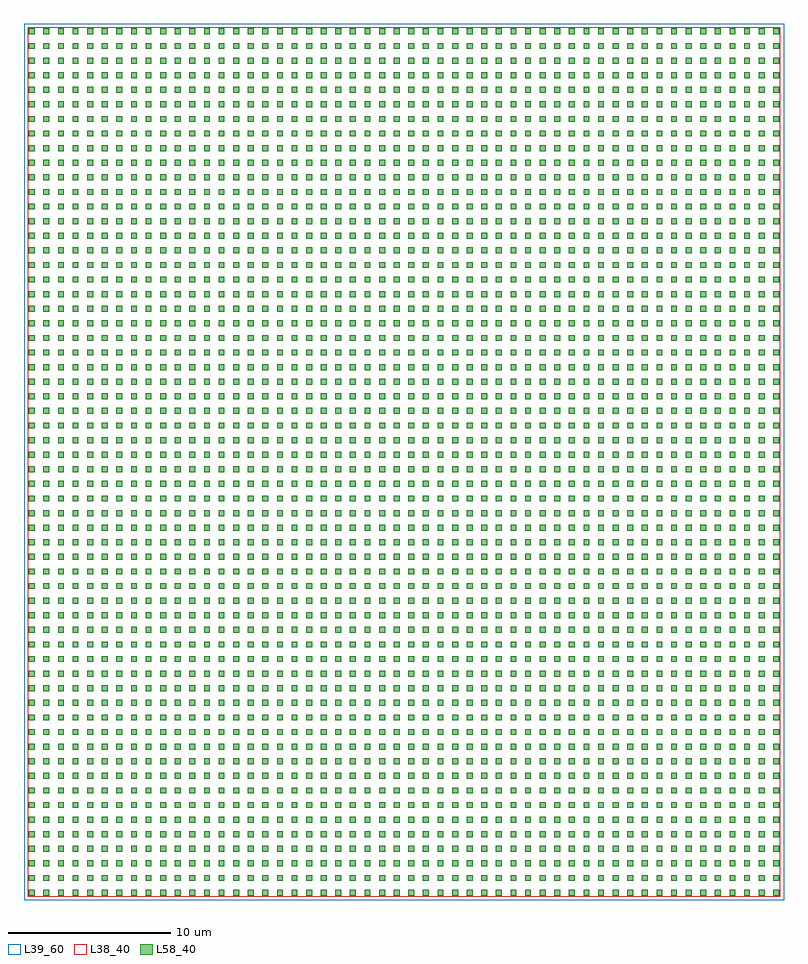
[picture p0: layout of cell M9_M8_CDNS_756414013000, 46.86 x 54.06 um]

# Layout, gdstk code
import gdstk
lib = gdstk.Library(unit=1e-6, precision=1e-09)
def R(c, l, rs):  # rectangles x0, y0, x1, y1
    for r in rs: c.add(gdstk.rectangle(r[:2], r[2:], *l))
def A(c, l, x, y, w, h, nx, ny, dx, dy):  # array of equal rectangles
    R(c, l, [(x+i*dx, y+j*dy, x+i*dx+w, y+j*dy+h) for i in range(nx) for j in range(ny)])
L38_40 = (38, 40)
L39_60 = (39, 60)
L58_40 = (58, 40)

m9_m8_cdns_756414013000 = lib.new_cell('M9_M8_CDNS_756414013000')
R(m9_m8_cdns_756414013000, L38_40, [(-23.21,-26.81,23.21,26.81)])
R(m9_m8_cdns_756414013000, L39_60, [(-23.43,-27.03,23.43,27.03)])
A(m9_m8_cdns_756414013000, L58_40, -23.13, -26.73, 0.36, 0.36, 52, 60, 0.9, 0.9)

lib.write_gds('M9_M8_CDNS_756414013000.gds')
